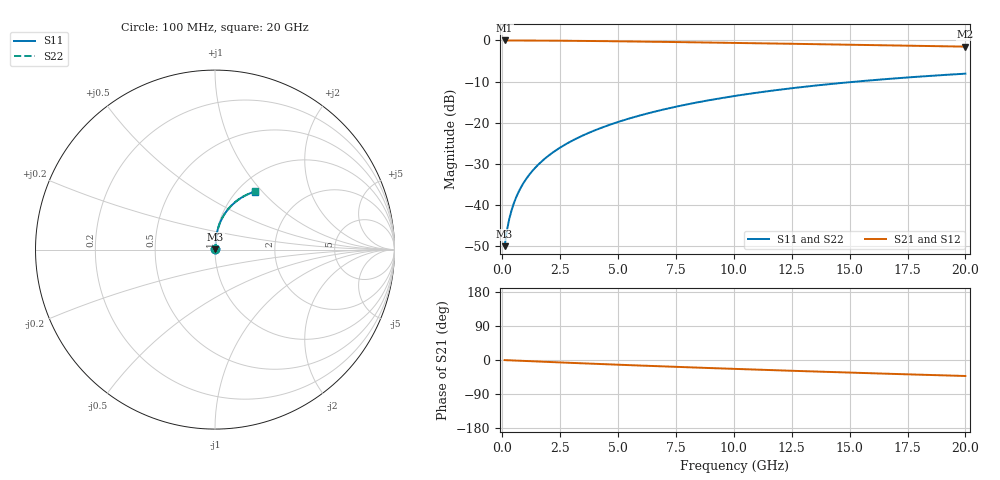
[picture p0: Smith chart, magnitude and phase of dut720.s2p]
! Touchstone file exported from HFSS 2024.1.0
!  File:  C:/UserFiles/LocalFiles/RDL_TSV_Batchsim/temp_RDL_top_720_1779850583.aedt
!  Generated:  10:58:42 AM May 27, 2026
!  Design:  RDL_top
!  Project:  temp_RDL_top_720_1779850583
!  Setup:  Setup1
!  Solution:  Sweep
! Variables:
!  dtsv = 10.80580581um
!  hbump = 3um
!  htsv = 65.03um
!  ldown = 100um
!  lrdl = 585.81um
!  p = 40
!  p1 = 55.29um
!  rhole = 1um
!  t = 450um
!  tdown = 3.915915916um
!  trdl = 4.43um
!  wdown = 15.38538539um
!  wrdl = 21.72um
# GHz S MA R 50.000000
! Terminal data exported
! Port[1] = Box2_T1
! Port[2] = Box2_T2
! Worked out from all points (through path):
!   200 points, 100 MHz to 20 GHz, reference 50 ohm
!   highest |S21| = -0.02 dB at 100 MHz (marker M1); lowest = -1.5 dB at 20 GHz (marker M2)
!   group delay of S21, straight-line fit = 5.81 ps
!   lowest |S11| = -50.0 dB at 100 MHz (marker M3), VSWR 1.01, Z = 50.2 + j0.215 ohm
!   |S11| at or under -10 dB: start of sweep to 15.32 GHz
!   |S22| runs from -50.0 to -8.1 dB; largest |S21 - S12| = 3.4e-15
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0.1  0.003156 42.7  0.9977 -0.3  0.9977 -0.3  0.003156 42.7
! Gamma 0 0 0 0
! Port Impedance 50 0 50 0
0.2  0.004872 59.9  0.9975 -0.5  0.9975 -0.5  0.004872 59.9
0.3  0.006735 67.5  0.9973 -0.8  0.9973 -0.8  0.006735 67.5
0.4  0.008619 71.7  0.9972 -1.1  0.9972 -1.1  0.008619 71.7
0.5  0.01051 74.6  0.997 -1.3  0.997 -1.3  0.01051 74.6
0.6  0.01241 76.6  0.9968 -1.6  0.9968 -1.6  0.01241 76.6
0.8  0.01623 79.2  0.9965 -2.1  0.9965 -2.1  0.01623 79.2
1.1  0.02203 81.5  0.9958 -2.9  0.9958 -2.9  0.02203 81.6
1.5  0.02987 83.1  0.9947 -3.9  0.9947 -3.9  0.02987 83.1
1.8  0.0358 83.8  0.9937 -4.6  0.9937 -4.6  0.0358 83.8
2.1  0.04178 84.2  0.9925 -5.4  0.9925 -5.4  0.04178 84.2
2.7  0.05388 84.5  0.9897 -6.9  0.9897 -6.9  0.05389 84.5
3.5  0.07032 84.3  0.9851 -8.9  0.9851 -8.9  0.07032 84.3
4.2  0.08496 83.7  0.9804 -10.6  0.9804 -10.6  0.08497 83.8
5  0.102 82.9  0.9746 -12.5  0.9746 -12.5  0.102 82.9
6.8  0.141 80.3  0.96 -16.6  0.96 -16.6  0.141 80.3
8.4  0.1759 77.5  0.9462 -20.0  0.9462 -20.0  0.1759 77.5
10.1  0.2125 74.3  0.931 -23.6  0.931 -23.6  0.2125 74.3
11.7  0.2459 71.1  0.9164 -26.8  0.9164 -26.8  0.246 71.1
13.4  0.2799 67.7  0.9007 -30.2  0.9007 -30.2  0.28 67.7
16.7  0.3407 61.3  0.87 -36.4  0.87 -36.4  0.3408 61.3
20  0.3939 55.2  0.8395 -42.2  0.8395 -42.2  0.394 55.3
